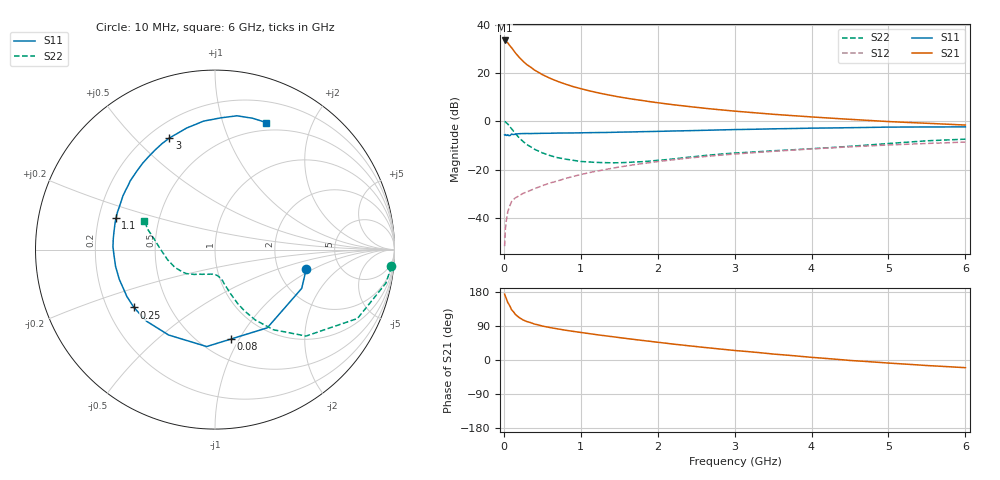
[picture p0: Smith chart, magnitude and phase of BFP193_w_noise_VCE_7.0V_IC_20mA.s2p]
! (c) 2017  Infineon Technologies AG, Munich
! Infineon Technologies  Discrete & RF Semiconductors
! BFP193
! VCE =  7.0 V,  IC =  20 mA
! Common Emitter S-Parameters:  Jan 2017
# GHz  S  MA  R  50
!  f  S11  S21  S12  S22
! GHz  MAG  ANG  MAG  ANG  MAG  ANG  MAG  ANG
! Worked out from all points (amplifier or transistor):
!   77 points, 10 MHz to 6 GHz, reference 50 ohm
!   highest |S21| = 33.4 dB at 10 MHz (marker M1)
!   |S21| within 3 dB of that: start of sweep to 100.3 MHz
!   unconditionally stable (mu >= 1): 889.8 MHz to 2.521 GHz
!   at 130 MHz: K = 0.37, MSG = 30.7 dB, |S12| = -32.3 dB
!   at 2.2 GHz: K = 1.02, MAG = 10.6 dB, |S12| = -16.0 dB
!   at 6 GHz: K = 0.89, MSG = 3.5 dB, |S12| = -8.6 dB
!   lowest NFmin = 1.05 dB at 450 MHz
!   S11 on the Smith chart (normalised r, x): 10 MHz: 2.87, -0.86; 80 MHz: 0.69, -0.92; 250 MHz: 0.31, -0.29; 1.1 GHz: 0.27, +0.14; 3 GHz: 0.28, +0.63; 6 GHz: 0.41, +1.40
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0.01  0.5197 -12.2  46.81 173.7  0.0026 85.0  0.9877 -5.4
0.02  0.5292 -24.1  46.74 168.1  0.0058 80.4  0.9704 -11.1
0.05  0.5243 -56.2  41.96 152.1  0.013 70.4  0.8818 -25.8
0.08  0.5062 -79.9  36.17 141.6  0.0181 61.4  0.7634 -35.4
0.1  0.5421 -94.9  33.18 132.7  0.0217 57.8  0.6996 -43.5
0.15  0.5415 -118.5  25.93 120.2  0.026 52.5  0.5526 -53.9
0.2  0.5518 -133.6  20.92 111.9  0.0287 51.2  0.4521 -60.2
0.25  0.555 -144.5  17.37 105.7  0.0322 50.5  0.3806 -64.2
0.3  0.5562 -151.9  14.77 101.4  0.0345 51.3  0.3281 -67.1
0.4  0.5584 -162.8  11.39 94.7  0.0402 53.9  0.2621 -70.5
0.5  0.5619 -170.5  9.2 89.7  0.0463 56.1  0.2217 -72.9
0.6  0.5635 -176.7  7.742 85.6  0.0527 57.2  0.1947 -75.1
0.7  0.5687 178.5  6.658 82.1  0.0582 58.8  0.1759 -76.6
0.9  0.5716 169.8  5.202 75.6  0.0721 59.5  0.1555 -81.0
1.1  0.579 162.5  4.293 69.9  0.0855 60.2  0.1439 -86.0
1.5  0.5936 149.9  3.176 59.2  0.1127 58.4  0.1383 -99.2
2.1  0.6212 132.7  2.3 44.5  0.1526 53.2  0.1598 -120.9
3  0.6715 112.3  1.617 25.1  0.2091 43.8  0.2193 -145.1
3.1  0.6749 110.4  1.569 23.4  0.2148 42.7  0.2237 -147.5
4.1  0.7208 93.6  1.198 5.5  0.2723 32.1  0.2756 -170.6
5.1  0.7558 79.4  0.967 -9.3  0.3266 20.9  0.3546 168.4
6  0.7633 68.0  0.833 -20.3  0.3702 10.9  0.4253 157.6
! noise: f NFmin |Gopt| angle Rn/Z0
0.45  1.05  0.27  180  0.07
0.9  1.13  0.36  -178  0.07
1.9  1.76  0.56  -140  0.15
2.4  2.1  0.62  -124  0.34
